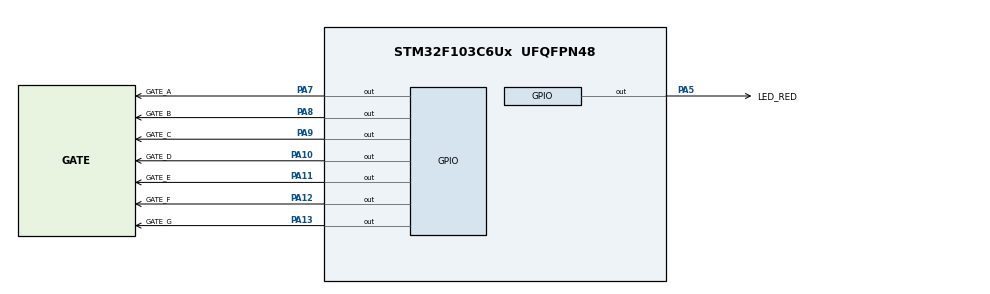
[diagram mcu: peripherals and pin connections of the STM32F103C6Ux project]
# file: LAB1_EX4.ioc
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Mcu.Family=STM32F1
Mcu.Name=STM32F103C6Ux
Mcu.Package=UFQFPN48
NVIC.PriorityGroup=NVIC_PRIORITYGROUP_4
PA10.GPIO_Label=GATE_D
PA10.Signal=GPIO_Output
PA11.GPIO_Label=GATE_E
PA11.Signal=GPIO_Output
PA12.GPIO_Label=GATE_F
PA12.Signal=GPIO_Output
PA13.GPIO_Label=GATE_G
PA13.Signal=GPIO_Output
PA5.GPIO_Label=LED_RED
PA5.Signal=GPIO_Output
PA7.GPIO_Label=GATE_A
PA7.Signal=GPIO_Output
PA8.GPIO_Label=GATE_B
PA8.Signal=GPIO_Output
PA9.GPIO_Label=GATE_C
PA9.Signal=GPIO_Output
ProjectManager.HeapSize=0x200
ProjectManager.StackSize=0x400
ProjectManager.TargetToolchain=STM32CubeIDE
RCC.APB1Freq_Value=8000000
RCC.APB2Freq_Value=8000000
VP_SYS_VS_ND.Mode=No_Debug
board=custom

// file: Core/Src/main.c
/* USER CODE BEGIN Header */
/**
  ******************************************************************************
  * @file           : main.c
  * @brief          : Main program body
  ******************************************************************************
  * @attention
  *
  * <h2><center>&copy; Copyright (c) 2025 STMicroelectronics.
  * All rights reserved.</center></h2>
  *
  * This software component is licensed by ST under BSD 3-Clause license,
  * the "License"; You may not use this file except in compliance with the
  * License. You may obtain a copy of the License at:
  *                        opensource.org/licenses/BSD-3-Clause
  *
  ******************************************************************************
  */
/* USER CODE END Header */
#include "main.h"

void SystemClock_Config(void);
static void MX_GPIO_Init(void);

/* USER CODE BEGIN 0 */

void display7SEG(int number){

		switch (number) {
		case 0:
			HAL_GPIO_WritePin(GATE_A_GPIO_Port, GATE_A_Pin, RESET);
			HAL_GPIO_WritePin(GATE_B_GPIO_Port, GATE_B_Pin, RESET);
			HAL_GPIO_WritePin(GATE_C_GPIO_Port, GATE_C_Pin, RESET);
			HAL_GPIO_WritePin(GATE_D_GPIO_Port, GATE_D_Pin, RESET);
			HAL_GPIO_WritePin(GATE_E_GPIO_Port, GATE_E_Pin, RESET);
			HAL_GPIO_WritePin(GATE_F_GPIO_Port, GATE_F_Pin, RESET);
			HAL_GPIO_WritePin(GATE_G_GPIO_Port, GATE_G_Pin, SET);
			break;
		case 1:
			HAL_GPIO_WritePin(GATE_A_GPIO_Port, GATE_A_Pin, SET);
			HAL_GPIO_WritePin(GATE_B_GPIO_Port, GATE_B_Pin, RESET);
			HAL_GPIO_WritePin(GATE_C_GPIO_Port, GATE_C_Pin, RESET);
			HAL_GPIO_WritePin(GATE_D_GPIO_Port, GATE_D_Pin, SET);
			HAL_GPIO_WritePin(GATE_E_GPIO_Port, GATE_E_Pin, SET);
			HAL_GPIO_WritePin(GATE_F_GPIO_Port, GATE_F_Pin, SET);
			HAL_GPIO_WritePin(GATE_G_GPIO_Port, GATE_G_Pin, SET);
			break;
		case 2:
			HAL_GPIO_WritePin(GATE_A_GPIO_Port, GATE_A_Pin, RESET);
			HAL_GPIO_WritePin(GATE_B_GPIO_Port, GATE_B_Pin, RESET);
			HAL_GPIO_WritePin(GATE_C_GPIO_Port, GATE_C_Pin, SET);
			HAL_GPIO_WritePin(GATE_D_GPIO_Port, GATE_D_Pin, RESET);
			HAL_GPIO_WritePin(GATE_E_GPIO_Port, GATE_E_Pin, RESET);
			HAL_GPIO_WritePin(GATE_F_GPIO_Port, GATE_F_Pin, SET);
			HAL_GPIO_WritePin(GATE_G_GPIO_Port, GATE_G_Pin, RESET);
			break;
		case 3:
			HAL_GPIO_WritePin(GATE_A_GPIO_Port, GATE_A_Pin, RESET);
			HAL_GPIO_WritePin(GATE_B_GPIO_Port, GATE_B_Pin, RESET);
			HAL_GPIO_WritePin(GATE_C_GPIO_Port, GATE_C_Pin, RESET);
			HAL_GPIO_WritePin(GATE_D_GPIO_Port, GATE_D_Pin, RESET);
			HAL_GPIO_WritePin(GATE_E_GPIO_Port, GATE_E_Pin, SET);
			HAL_GPIO_WritePin(GATE_F_GPIO_Port, GATE_F_Pin, SET);
			HAL_GPIO_WritePin(GATE_G_GPIO_Port, GATE_G_Pin, RESET);
			break;
		case 4:
			HAL_GPIO_WritePin(GATE_A_GPIO_Port, GATE_A_Pin, SET);
			HAL_GPIO_WritePin(GATE_B_GPIO_Port, GATE_B_Pin, RESET);
			HAL_GPIO_WritePin(GATE_C_GPIO_Port, GATE_C_Pin, RESET);
			HAL_GPIO_WritePin(GATE_D_GPIO_Port, GATE_D_Pin, SET);
			HAL_GPIO_WritePin(GATE_E_GPIO_Port, GATE_E_Pin, SET);
			HAL_GPIO_WritePin(GATE_F_GPIO_Port, GATE_F_Pin, RESET);
			HAL_GPIO_WritePin(GATE_G_GPIO_Port, GATE_G_Pin, RESET);
			break;
		case 5:
			HAL_GPIO_WritePin(GATE_A_GPIO_Port, GATE_A_Pin, RESET);
			HAL_GPIO_WritePin(GATE_B_GPIO_Port, GATE_B_Pin, SET);
			HAL_GPIO_WritePin(GATE_C_GPIO_Port, GATE_C_Pin, RESET);
			HAL_GPIO_WritePin(GATE_D_GPIO_Port, GATE_D_Pin, RESET);
			HAL_GPIO_WritePin(GATE_E_GPIO_Port, GATE_E_Pin, SET);
			HAL_GPIO_WritePin(GATE_F_GPIO_Port, GATE_F_Pin, RESET);
			HAL_GPIO_WritePin(GATE_G_GPIO_Port, GATE_G_Pin, RESET);
			break;
		case 6:
			HAL_GPIO_WritePin(GATE_A_GPIO_Port, GATE_A_Pin, RESET);
			HAL_GPIO_WritePin(GATE_B_GPIO_Port, GATE_B_Pin, SET);
			HAL_GPIO_WritePin(GATE_C_GPIO_Port, GATE_C_Pin, RESET);
			HAL_GPIO_WritePin(GATE_D_GPIO_Port, GATE_D_Pin, RESET);
			HAL_GPIO_WritePin(GATE_E_GPIO_Port, GATE_E_Pin, RESET);
			HAL_GPIO_WritePin(GATE_F_GPIO_Port, GATE_F_Pin, RESET);
			HAL_GPIO_WritePin(GATE_G_GPIO_Port, GATE_G_Pin, RESET);
			break;
		case 7:
			HAL_GPIO_WritePin(GATE_A_GPIO_Port, GATE_A_Pin, RESET);
			HAL_GPIO_WritePin(GATE_B_GPIO_Port, GATE_B_Pin, RESET);
			HAL_GPIO_WritePin(GATE_C_GPIO_Port, GATE_C_Pin, RESET);
			HAL_GPIO_WritePin(GATE_D_GPIO_Port, GATE_D_Pin, SET);
			HAL_GPIO_WritePin(GATE_E_GPIO_Port, GATE_E_Pin, SET);
			HAL_GPIO_WritePin(GATE_F_GPIO_Port, GATE_F_Pin, SET);
			HAL_GPIO_WritePin(GATE_G_GPIO_Port, GATE_G_Pin, SET);
			break;
		case 8:
			HAL_GPIO_WritePin(GATE_A_GPIO_Port, GATE_A_Pin, RESET);
			HAL_GPIO_WritePin(GATE_B_GPIO_Port, GATE_B_Pin, RESET);
			HAL_GPIO_WritePin(GATE_C_GPIO_Port, GATE_C_Pin, RESET);
			HAL_GPIO_WritePin(GATE_D_GPIO_Port, GATE_D_Pin, RESET);
			HAL_GPIO_WritePin(GATE_E_GPIO_Port, GATE_E_Pin, RESET);
			HAL_GPIO_WritePin(GATE_F_GPIO_Port, GATE_F_Pin, RESET);
			HAL_GPIO_WritePin(GATE_G_GPIO_Port, GATE_G_Pin, RESET);
			break;
		case 9:
			HAL_GPIO_WritePin(GATE_A_GPIO_Port, GATE_A_Pin, RESET);
			HAL_GPIO_WritePin(GATE_B_GPIO_Port, GATE_B_Pin, RESET);
			HAL_GPIO_WritePin(GATE_C_GPIO_Port, GATE_C_Pin, RESET);
			HAL_GPIO_WritePin(GATE_D_GPIO_Port, GATE_D_Pin, RESET);
			HAL_GPIO_WritePin(GATE_E_GPIO_Port, GATE_E_Pin, SET);
			HAL_GPIO_WritePin(GATE_F_GPIO_Port, GATE_F_Pin, RESET);
			HAL_GPIO_WritePin(GATE_G_GPIO_Port, GATE_G_Pin, RESET);
			break;
		default:
			break;
		}
		return;
	}
/* USER CODE END 0 */

int main(void)
{

  /* MCU Configuration--------------------------------------------------------*/

  /* Reset of all peripherals, Initializes the Flash interface and the Systick. */
  HAL_Init();

  /* Configure the system clock */
  SystemClock_Config();

  /* Initialize all configured peripherals */
  MX_GPIO_Init();

  /* Infinite loop */
  /* USER CODE BEGIN WHILE */
  int counter = 0;

    while (1)
    {
  	  HAL_GPIO_TogglePin(LED_RED_GPIO_Port, LED_RED_Pin);
  	  if(counter >= 10) counter = 0;
  	  display7SEG(counter);
  	  counter = counter + 1;

  	  HAL_Delay(1000);
    /* USER CODE END WHILE */

  }
}

void SystemClock_Config(void)
{
  RCC_OscInitTypeDef RCC_OscInitStruct = {0};
  RCC_ClkInitTypeDef RCC_ClkInitStruct = {0};

  /** Initializes the RCC Oscillators according to the specified parameters
  * in the RCC_OscInitTypeDef structure.
  */
  RCC_OscInitStruct.OscillatorType = RCC_OSCILLATORTYPE_HSI;
  RCC_OscInitStruct.HSIState = RCC_HSI_ON;
  RCC_OscInitStruct.HSICalibrationValue = RCC_HSICALIBRATION_DEFAULT;
  RCC_OscInitStruct.PLL.PLLState = RCC_PLL_NONE;
  if (HAL_RCC_OscConfig(&RCC_OscInitStruct) != HAL_OK)
  {
    Error_Handler();
  }
  /** Initializes the CPU, AHB and APB buses clocks
  */
  RCC_ClkInitStruct.ClockType = RCC_CLOCKTYPE_HCLK|RCC_CLOCKTYPE_SYSCLK
                              |RCC_CLOCKTYPE_PCLK1|RCC_CLOCKTYPE_PCLK2;
  RCC_ClkInitStruct.SYSCLKSource = RCC_SYSCLKSOURCE_HSI;
  RCC_ClkInitStruct.AHBCLKDivider = RCC_SYSCLK_DIV1;
  RCC_ClkInitStruct.APB1CLKDivider = RCC_HCLK_DIV1;
  RCC_ClkInitStruct.APB2CLKDivider = RCC_HCLK_DIV1;

  if (HAL_RCC_ClockConfig(&RCC_ClkInitStruct, FLASH_LATENCY_0) != HAL_OK)
  {
    Error_Handler();
  }
}

static void MX_GPIO_Init(void)
{
  GPIO_InitTypeDef GPIO_InitStruct = {0};

  /* GPIO Ports Clock Enable */
  __HAL_RCC_GPIOA_CLK_ENABLE();

  /*Configure GPIO pin Output Level */
  HAL_GPIO_WritePin(GPIOA, LED_RED_Pin|GATE_A_Pin|GATE_B_Pin|GATE_C_Pin
                          |GATE_D_Pin|GATE_E_Pin|GATE_F_Pin|GATE_G_Pin, GPIO_PIN_RESET);

  /*Configure GPIO pins : LED_RED_Pin GATE_A_Pin GATE_B_Pin GATE_C_Pin
                           GATE_D_Pin GATE_E_Pin GATE_F_Pin GATE_G_Pin */
  GPIO_InitStruct.Pin = LED_RED_Pin|GATE_A_Pin|GATE_B_Pin|GATE_C_Pin
                          |GATE_D_Pin|GATE_E_Pin|GATE_F_Pin|GATE_G_Pin;
  GPIO_InitStruct.Mode = GPIO_MODE_OUTPUT_PP;
  GPIO_InitStruct.Pull = GPIO_NOPULL;
  GPIO_InitStruct.Speed = GPIO_SPEED_FREQ_LOW;
  HAL_GPIO_Init(GPIOA, &GPIO_InitStruct);

}

void Error_Handler(void)
{
  __disable_irq();
  while (1)
  {
  }
}

/************************ (C) COPYRIGHT STMicroelectronics *****END OF FILE****/
